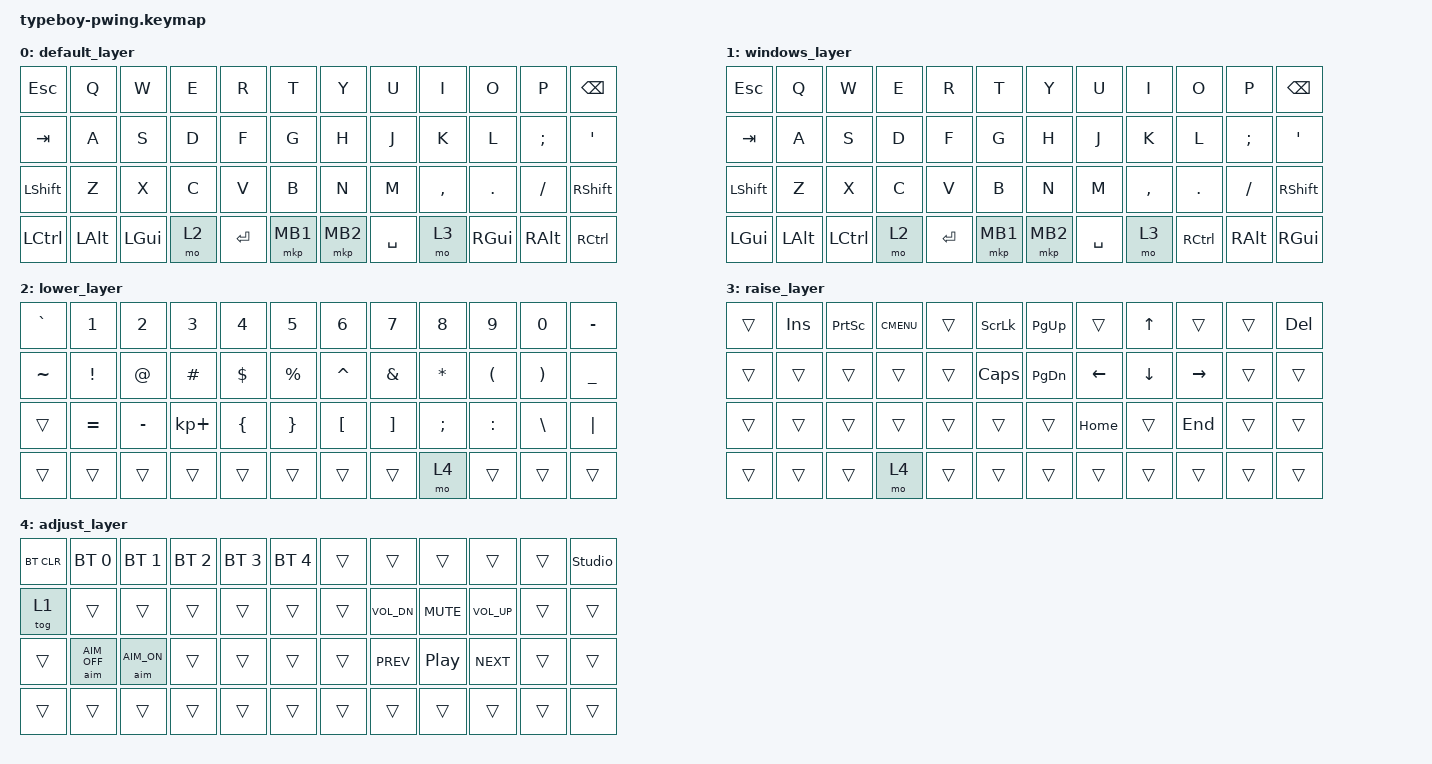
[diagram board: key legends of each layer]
#include <behaviors.dtsi>
#include <dt-bindings/zmk/keys.h>
#include <dt-bindings/zmk/bt.h>
#include <dt-bindings/zmk/rgb.h>
#include <dt-bindings/zmk/pointing.h>
#include <behaviors/anti_idle_mode.dtsi>
#include <dt-bindings/anti_idle_mode.h>

// Template:
// -------------------------------------------------------------------------
// |     |     |     |     |     |     |     |     |     |     |     |     |
// |     |     |     |     |     |     |     |     |     |     |     |     |
// |     |     |     |     |     |     |     |     |     |     |     |     |
// |     |     |     |     |     |     |     |     |     |     |     |     |
// -------------------------------------------------------------------------

/ {
        anti_idle {
                compatible = "zmk,anti-idle-generic";
                interval-ms = <60000>; // How often to send actions (ms)
                bindings = <&mmv MOVE_DOWN &mmv MOVE_UP>; // Actions to perform (e.g., mouse move)
                tap_ms = <40>;   // Duration of each action (ms)
                wait_ms = <200>; // Delay between actions (ms)
        };

        keymap {
                compatible = "zmk,keymap";

                default_layer {

// Keymap:
// --------------------------------------------------------------------------
// | ESC |  A  |  W  |  E  |  R  |  T  |  Y  |  U  |  I  |  O  |  P   |BSPC |
// | TAB |  A  |  S  |  D  |  F  |  G  |  H  |  J  |  K  |  L  |  ;   |  '  |
// |SHFT |  Z  |  X  |  C  |  V  |  B  |  N  |  M  |  ,  |  .  |  /   |SHFT |
// |SHFT |CTRL | ALT | CMD | LOW | ENT | SPC | RSE | CMD | ALT | CTRL |SHFT |
// --------------------------------------------------------------------------
                        bindings = <
        &kp ESC   &kp Q     &kp W    &kp E    &kp R  &kp T    &kp Y     &kp U  &kp I     &kp O     &kp P     &kp BSPC
        &kp TAB   &kp A     &kp S    &kp D    &kp F  &kp G    &kp H     &kp J  &kp K     &kp L     &kp SEMI  &kp SQT
        &kp LSHFT &kp Z     &kp X    &kp C    &kp V  &kp B    &kp N     &kp M  &kp COMMA &kp DOT   &kp FSLH  &kp RSHFT
        &kp LCTRL &kp LALT &kp LGUI &mo 2  &kp RET &mkp MB1 &mkp MB2  &kp SPACE &mo 3  &kp RGUI  &kp RALT  &kp RCTRL
                        >;
                };

                windows_layer {

// Keymap:
// --------------------------------------------------------------------------
// | ESC |  Q  |  W  |  E  |  R  |  T  |  Y  |  U  |  I  |  O  |  P   |BSPC |
// | TAB |  A  |  S  |  D  |  F  |  G  |  H  |  J  |  K  |  L  |  ;   |  '  |
// |SHFT |  Z  |  X  |  C  |  V  |  B  |  N  |  M  |  ,  |  .  |  /   |SHFT |
// |SHFT |CTRL | ALT | CMD | LOW | ENT | SPC | RSE | CMD | ALT | CTRL |SHFT |
// --------------------------------------------------------------------------
                        bindings = <
        &kp ESC   &kp Q     &kp W    &kp E    &kp R  &kp T    &kp Y     &kp U  &kp I     &kp O     &kp P     &kp BSPC
        &kp TAB   &kp A     &kp S    &kp D    &kp F  &kp G    &kp H     &kp J  &kp K     &kp L     &kp SEMI  &kp SQT
        &kp LSHFT &kp Z     &kp X    &kp C    &kp V  &kp B    &kp N     &kp M  &kp COMMA &kp DOT   &kp FSLH  &kp RSHFT
        &kp LGUI &kp LALT &kp LCTRL &mo 2  &kp RET &mkp MB1 &mkp MB2  &kp SPACE &mo 3  &kp RCTRL  &kp RALT  &kp RGUI
                        >;
                };

                lower_layer {
// -------------------------------------------------------------------------
// |  `  |  1  |  2  |  3  |  4  |  5  |  6  |  7  |  8  |  9  |  0  |  -  |
// |  ~  |  !  |  @  |  #  |  $  |  %  |  ^  |  &  |  *  |  (  |  )  |  _  |
// |     |  =  |  -  |  +  |  {  |  }  |  [  |  ]  |  ;  |  :  |  \  |     |
// |     |     |     |     |     |     |     | RSE |     |     |     |     |
// -------------------------------------------------------------------------
                        bindings = <
        &kp GRAVE &kp N1    &kp N2    &kp N3      &kp N4   &kp N5     &kp N6    &kp N7   &kp N8    &kp N9    &kp N0   &kp MINUS
        &kp TILDE &kp EXCL  &kp AT    &kp HASH    &kp DLLR &kp PRCNT  &kp CARET &kp AMPS &kp ASTRK &kp LPAR  &kp RPAR &kp UNDER
        &trans    &kp EQUAL &kp MINUS &kp KP_PLUS &kp LBRC &kp RBRC   &kp LBKT  &kp RBKT &kp SEMI  &kp COLON &kp BSLH &kp PIPE
        &trans    &trans    &trans    &trans      &trans   &trans     &trans    &trans   &mo 4     &trans    &trans    &trans
                        >;
                };

                raise_layer {
// -------------------------------------------------------------------------
// |     | INS |PSCRN|MENU |     |Scll |PG UP|     |  Up |     |     | Del |
// |     |     |     |     |     |Caps |PG DN|Left |Down |Right|     |     |
// |     |     |     |     |     |     |     |Home |     | End |     |     |
// |     |     |     |     | LOW |     |     |     |     |     |     |     |
// -------------------------------------------------------------------------
                        bindings = <
        &trans &kp INS &kp PSCRN &kp K_CMENU &trans &kp SLCK  &kp PG_UP &trans   &kp UP   &trans    &trans &kp DEL
        &trans &trans  &trans    &trans      &trans &kp CLCK  &kp PG_DN &kp LEFT &kp DOWN &kp RIGHT &trans &trans
        &trans &trans  &trans    &trans      &trans &trans    &trans    &kp HOME &trans   &kp END   &trans &trans
        &trans &trans  &trans    &mo 4       &trans &trans    &trans    &trans   &trans   &trans    &trans &trans 
                        >;
                };

                adjust_layer {
// -------------------------------------------------------------------------
// |BTCLR| BT1 | BT2 | BT3 | BT4 | BT5 |     |     |     |     |     |UNLCK|
// |OS TG|     |     |     |     |     |     |VolDn|Mute |VolUp|     |     |
// |     | AIM-| AIM+|     |     |     |     |Prev |Play |Next |     |     |
// |     |     |     |     |     |     |     |     |     |     |     |     |
// -------------------------------------------------------------------------
                        bindings = <
        &bt BT_CLR &bt BT_SEL 0 &bt BT_SEL 1 &bt BT_SEL 2 &bt BT_SEL 3 &bt BT_SEL 4 &trans &trans       &trans     &trans       &trans &studio_unlock
        &tog 1     &trans       &trans       &trans       &trans       &trans       &trans &kp C_VOL_DN &kp C_MUTE &kp C_VOL_UP &trans &trans
        &trans     &aim AIM_OFF &aim AIM_ON  &trans       &trans       &trans       &trans &kp C_PREV   &kp C_PP   &kp C_NEXT   &trans &trans
        &trans     &trans       &trans       &trans       &trans       &trans       &trans &trans       &trans     &trans       &trans &trans
                        >;
                };
        };
};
